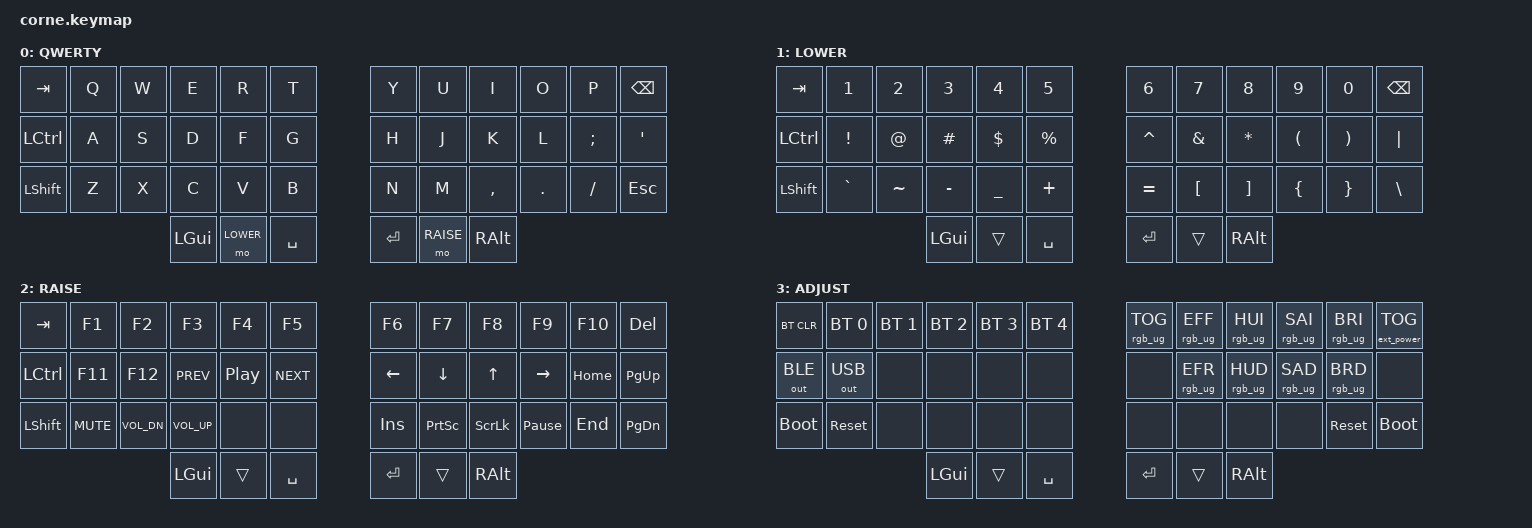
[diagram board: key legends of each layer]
/*
 * Propuesta 1: Default Clasica Corne (QWERTY 42 teclas)
 * Archivo: config/corne.keymap
 */

#include <behaviors.dtsi>
#include <dt-bindings/zmk/keys.h>
#include <dt-bindings/zmk/bt.h>
#include <dt-bindings/zmk/rgb.h>
#include <dt-bindings/zmk/ext_power.h>
#include <dt-bindings/zmk/outputs.h>

#define DEFAULT 0
#define LOWER   1
#define RAISE   2
#define ADJUST  3

/* Configuracion de 27 LEDs WS2812B por mitad */
&led_strip {
    chain-length = <27>;
};

/ {
    conditional_layers {
        compatible = "zmk,conditional-layers";
        tri_layer {
            if-layers = <LOWER RAISE>;
            then-layer = <ADJUST>;
        };
    };

    keymap {
        compatible = "zmk,keymap";

        default_layer {
            display-name = "QWERTY";
            // -----------------------------------------------------------------------------------------
            // |  TAB |  Q  |  W  |  E  |  R  |  T  |   |  Y  |  U   |  I  |  O  |  P  | BKSP |
            // | CTRL |  A  |  S  |  D  |  F  |  G  |   |  H  |  J   |  K  |  L  |  ;  |  '   |
            // | SHFT |  Z  |  X  |  C  |  V  |  B  |   |  N  |  M   |  ,  |  .  |  /  | ESC  |
            //                    | GUI | LWR | SPC |   | ENT | RSE  | ALT |
            bindings = <
                &kp TAB   &kp Q &kp W &kp E    &kp R     &kp T        &kp Y   &kp U     &kp I     &kp O   &kp P    &kp BSPC
                &kp LCTRL &kp A &kp S &kp D    &kp F     &kp G        &kp H   &kp J     &kp K     &kp L   &kp SEMI &kp SQT
                &kp LSHFT &kp Z &kp X &kp C    &kp V     &kp B        &kp N   &kp M     &kp COMMA &kp DOT &kp FSLH &kp ESC
                                      &kp LGUI &mo LOWER &kp SPACE    &kp RET &mo RAISE &kp RALT
            >;
        };

        lower_layer {
            display-name = "LOWER";
            // -----------------------------------------------------------------------------------------
            // |  TAB |  1  |  2  |  3  |  4  |  5  |   |  6  |  7  |  8  |  9  |  0  | BKSP |
            // | CTRL |  !  |  @  |  #  |  $  |  %  |   |  ^  |  &  |  *  |  (  |  )  |  |   |
            // | SHFT |  `  |  ~  |  -  |  _  |  +  |   |  =  |  [  |  ]  |  {  |  }  |  \   |
            //                    | GUI |     | SPC |   | ENT |     | ALT |
            bindings = <
                &kp TAB   &kp N1    &kp N2    &kp N3    &kp N4    &kp N5      &kp N6    &kp N7   &kp N8   &kp N9   &kp N0   &kp BSPC
                &kp LCTRL &kp EXCL  &kp AT    &kp HASH  &kp DLLR  &kp PRCNT   &kp CARET &kp AMPS &kp STAR &kp LPAR &kp RPAR &kp PIPE
                &kp LSHFT &kp GRAVE &kp TILDE &kp MINUS &kp UNDER &kp PLUS    &kp EQUAL &kp LBKT &kp RBKT &kp LBRC &kp RBRC &kp BSLH
                                              &kp LGUI  &trans    &kp SPACE   &kp RET   &trans   &kp RALT
            >;
        };

        raise_layer {
            display-name = "RAISE";
            // -----------------------------------------------------------------------------------------
            // |  TAB | F1  | F2  | F3  | F4  | F5  |   | F6  | F7   | F8   | F9  | F10 | DEL  |
            // | CTRL | F11 | F12 | PRV | P/P | NXT |   | LFT | DWN  |  UP  | RGT | HOM | PGUP |
            // | SHFT | MUT | V-  | V+  |     |     |   | INS | PSCR | SLCK | PAU | END | PGDN |
            //                    | GUI |     | SPC |   | ENT |      | ALT  |
            bindings = <
                &kp TAB   &kp F1     &kp F2       &kp F3       &kp F4   &kp F5      &kp F6  &kp F7    &kp F8   &kp F9          &kp F10  &kp DEL
                &kp LCTRL &kp F11    &kp F12      &kp C_PREV   &kp C_PP &kp C_NEXT  &kp LEFT &kp DOWN &kp UP   &kp RIGHT       &kp HOME &kp PG_UP
                &kp LSHFT &kp C_MUTE &kp C_VOL_DN &kp C_VOL_UP &none    &none       &kp INS  &kp PSCRN &kp SLCK &kp PAUSE_BREAK &kp END  &kp PG_DN
                                                  &kp LGUI     &trans   &kp SPACE   &kp RET  &trans   &kp RALT
            >;
        };

        adjust_layer {
            display-name = "ADJUST";
            // -----------------------------------------------------------------------------------------
            // | BTCLR| BT0 | BT1 | BT2 | BT3 | BT4 |   | RGB_TOG | RGB_EFF | RGB_HUI | RGB_SAI | RGB_BRI | EP_TOG |
            // | O_BLE| O_USB|    |     |     |     |   |         | RGB_EFR | RGB_HUD | RGB_SAD | RGB_BRD |        |
            // | BOOT | RST |     |     |     |     |   |         |         |         |         |         |  BOOT  |
            //                    | GUI |     | SPC |   |   ENT   |         |   ALT   |
            bindings = <
                &bt BT_CLR   &bt BT_SEL 0 &bt BT_SEL 1 &bt BT_SEL 2 &bt BT_SEL 3 &bt BT_SEL 4   &rgb_ug RGB_TOG &rgb_ug RGB_EFF &rgb_ug RGB_HUI &rgb_ug RGB_SAI &rgb_ug RGB_BRI &ext_power EP_TOG
                &out OUT_BLE &out OUT_USB &none        &none        &none        &none          &none           &rgb_ug RGB_EFR &rgb_ug RGB_HUD &rgb_ug RGB_SAD &rgb_ug RGB_BRD &none
                &bootloader  &sys_reset   &none        &none        &none        &none          &none           &none           &none           &none           &sys_reset      &bootloader
                                                       &kp LGUI     &trans       &kp SPACE      &kp RET         &trans          &kp RALT
            >;
        };
    };
};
